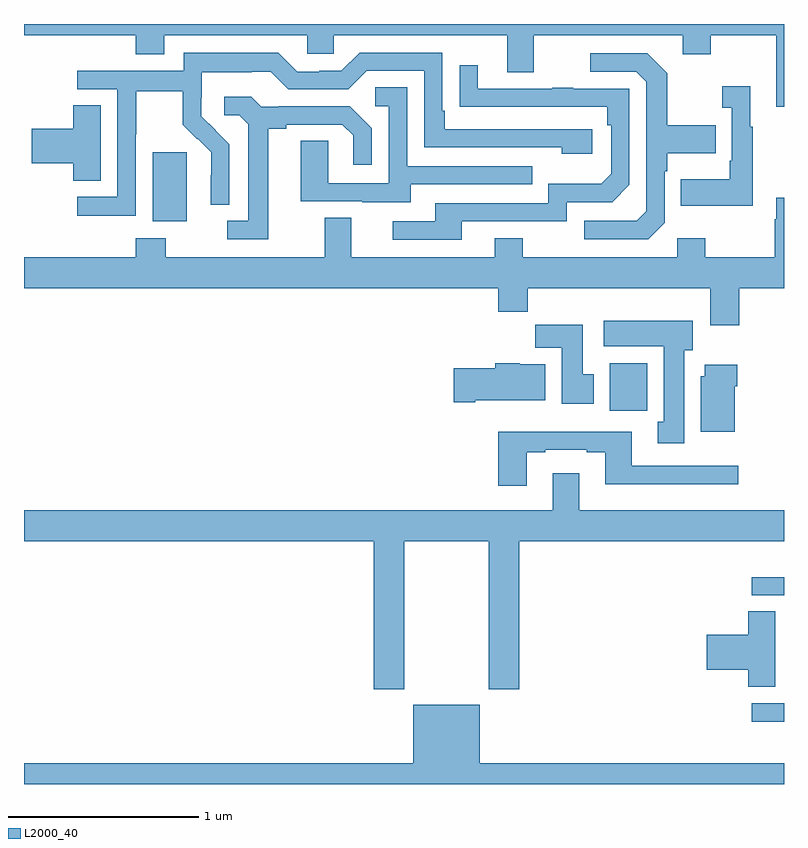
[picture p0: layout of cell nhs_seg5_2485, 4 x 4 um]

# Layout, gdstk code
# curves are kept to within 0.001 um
import gdstk
lib = gdstk.Library(unit=1e-6, precision=1e-09)
def R(c, l, rs):  # rectangles x0, y0, x1, y1
    for r in rs: c.add(gdstk.rectangle(r[:2], r[2:], *l))
def P(c, l, *ps):  # polygons
    for p in ps: c.add(gdstk.Polygon(p, *l))
L2000_40 = (2000, 40)

nhs_seg5_2485 = lib.new_cell('nhs_seg5_2485')
R(nhs_seg5_2485, L2000_40, [(258.831,873.127,259,873.225), (258.831,873.792,259,873.888), (258.083,874.764,258.279,875.014), (255.677,875.762,255.856,876.123)])
P(nhs_seg5_2485, L2000_40, [(255,876.74),(255.587,876.74),(255.587,876.641),(255.739,876.641),(255.739,876.74),(256.491,876.74),(256.491,876.642),(256.629,876.642),(256.629,876.74),(257.543,876.74),(257.543,876.546),(257.683,876.546),(257.683,876.74),(258.467,876.74),(258.467,876.641),(258.615,876.641),(258.615,876.74),(258.959,876.74),(258.959,876.363),(259,876.363),(259,876.799),(255,876.799)],
  [(255.588,876.22),(255.591,876.22),(255.591,876.444),(255.835,876.444),(255.835,876.269),(255.912,876.192),(255.915,876.195),(255.986,876.125),(255.986,876.002),(255.984,876.002),(255.984,875.848),(256.08,875.848),(256.08,876.166),(255.934,876.314),(255.934,876.411),(255.936,876.411),(255.936,876.545),(256.199,876.545),(256.199,876.549),(256.299,876.549),(256.392,876.456),(256.707,876.456),(256.803,876.552),(257.106,876.552),(257.106,876.15),(257.831,876.15),(257.831,876.116),(257.992,876.116),(257.992,876.246),(257.215,876.246),(257.215,876.343),(257.202,876.343),(257.202,876.648),(256.767,876.648),(256.671,876.552),(256.553,876.552),(256.553,876.549),(256.437,876.549),(256.337,876.649),(255.84,876.649),(255.84,876.552),(255.279,876.552),(255.279,876.456),(255.492,876.456),(255.492,875.889),(255.279,875.889),(255.279,875.791),(255.588,875.791)],
  [(258.372,875.754),(258.372,876.023),(258.385,876.023),(258.385,876.119),(258.641,876.119),(258.641,876.267),(258.385,876.267),(258.385,876.539),(258.279,876.645),(257.979,876.645),(257.979,876.549),(258.222,876.549),(258.276,876.495),(258.276,875.814),(258.225,875.763),(257.949,875.763),(257.949,875.667),(258.285,875.667)],
  [(257.305,875.76),(257.856,875.76),(257.856,875.862),(258.096,875.862),(258.186,875.952),(258.186,876.459),(257.891,876.459),(257.891,876.464),(257.779,876.464),(257.779,876.459),(257.389,876.459),(257.389,876.583),(257.293,876.583),(257.293,876.364),(258.07,876.363),(258.07,876.266),(258.09,876.266),(258.09,876.012),(258.037,875.959),(257.76,875.959),(257.76,875.856),(257.165,875.856),(257.165,875.76),(256.941,875.76),(256.941,875.664),(257.305,875.664)],
  [(258.835,876.259),(258.823,876.259),(258.823,876.472),(258.675,876.472),(258.675,876.359),(258.726,876.359),(258.726,876.079),(258.714,876.079),(258.714,875.983),(258.457,875.983),(258.457,875.843),(258.835,875.843)],
  [(257.035,875.955),(257.675,875.955),(257.675,876.051),(257.016,876.051),(257.016,876.467),(256.848,876.467),(256.848,876.366),(256.92,876.366),(256.92,875.961),(256.602,875.961),(256.602,876.185),(256.457,876.185),(256.457,875.865),(256.781,875.865),(256.781,875.861),(257.035,875.861)],
  [(256.285,876.248),(256.381,876.248),(256.381,876.27),(256.676,876.27),(256.733,876.213),(256.733,876.057),(256.83,876.057),(256.83,876.25),(256.714,876.366),(256.342,876.366),(256.342,876.363),(256.248,876.363),(256.196,876.415),(256.053,876.415),(256.053,876.318),(256.134,876.318),(256.181,876.271),(256.181,875.763),(256.071,875.763),(256.071,875.667),(256.285,875.667)],
  [(255.403,876.371),(255.26,876.371),(255.26,876.248),(255.042,876.248),(255.042,876.065),(255.26,876.065),(255.26,875.974),(255.403,875.974)],
  [(258.611,875.214),(258.764,875.214),(258.764,875.408),(259,875.408),(259,875.884),(258.959,875.884),(258.959,875.771),(258.952,875.771),(258.952,875.572),(258.585,875.572),(258.585,875.671),(258.438,875.671),(258.438,875.572),(257.625,875.572),(257.625,875.671),(257.477,875.671),(257.477,875.572),(256.723,875.572),(256.723,875.78),(256.583,875.78),(256.583,875.572),(255.747,875.572),(255.747,875.671),(255.587,875.671),(255.587,875.572),(255,875.572),(255,875.408),(257.495,875.408),(257.495,875.284),(257.651,875.284),(257.651,875.408),(258.611,875.408)],
  [(258.475,875.082),(258.52,875.082),(258.52,875.236),(258.051,875.236),(258.051,875.102),(258.368,875.102),(258.368,874.705),(258.335,874.705),(258.335,874.593),(258.475,874.593)],
  [(257.998,874.956),(257.941,874.956),(257.941,875.215),(257.692,875.215),(257.692,875.096),(257.831,875.096),(257.831,874.8),(257.998,874.8)],
  [(257.374,874.82),(257.743,874.82),(257.743,875.008),(257.61,875.008),(257.61,875.014),(257.48,875.014),(257.48,874.986),(257.262,874.986),(257.262,874.808),(257.374,874.808)],
  [(258.742,874.892),(258.755,874.892),(258.755,875.005),(258.584,875.005),(258.584,874.944),(258.563,874.944),(258.563,874.652),(258.742,874.652)],
  [(257.647,874.545),(257.743,874.545),(257.743,874.557),(257.963,874.557),(257.963,874.545),(258.059,874.545),(258.059,874.376),(258.76,874.376),(258.76,874.473),(258.199,874.473),(258.199,874.654),(257.495,874.654),(257.495,874.368),(257.647,874.368)],
  [(257.001,874.076),(257.446,874.076),(257.446,873.297),(257.606,873.297),(257.606,874.076),(259,874.076),(259,874.24),(257.923,874.24),(257.923,874.435),(257.783,874.435),(257.783,874.24),(255,874.24),(255,874.076),(256.841,874.076),(256.841,873.297),(257.001,873.297)],
  [(258.955,873.707),(258.812,873.707),(258.812,873.584),(258.594,873.584),(258.594,873.401),(258.812,873.401),(258.812,873.31),(258.955,873.31)],
  [(259,872.908),(257.398,872.908),(257.398,873.217),(257.048,873.217),(257.048,872.908),(255,872.908),(255,872.799),(259,872.799)])

lib.write_gds('nhs_seg5_2485.gds')
